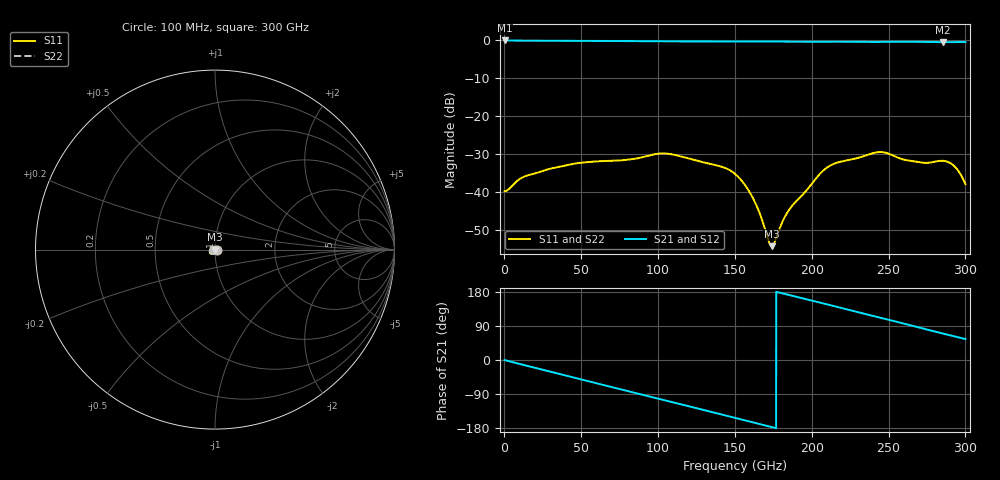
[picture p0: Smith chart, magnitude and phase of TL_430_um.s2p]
#  Hz  S  RI  R  50
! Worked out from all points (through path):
!   3000 points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, 100 MHz to 300 GHz, reference 50 ohm
!   highest |S21| = -0.08 dB at 100 MHz (marker M1); lowest = -0.5 dB at 285.6 GHz (marker M2)
!   group delay of S21, straight-line fit = 2.82 ps
!   lowest |S11| = -54.4 dB at 173.9 GHz (marker M3), VSWR 1.00, Z = 49.8 - j0.0591 ohm
!   |S11| at or under -10 dB: start of sweep to end of sweep
!   |S22| runs from -54.4 to -29.5 dB; largest |S21 - S12| = 3.5e-07
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1e8  0.0102 2.67e-05  0.9903 -0.00188  0.9903 -0.00188  0.0102 2.67e-05
1.37e10  0.0151 -0.00548  0.9537 -0.242  0.9537 -0.242  0.0151 -0.00548
3.14e10  0.0102 -0.0178  0.8289 -0.524  0.8289 -0.524  0.0102 -0.0178
5.01e10  -0.000964 -0.0241  0.6102 -0.764  0.6102 -0.764  -0.000964 -0.0241
7.53e10  -0.0132 -0.0222  0.216 -0.9476  0.216 -0.9476  -0.0132 -0.0222
1.001e11  -0.0259 -0.0185  -0.2015 -0.9401  -0.2015 -0.9401  -0.0259 -0.0185
1.233e11  -0.0262 -0.00208  -0.5574 -0.7843  -0.5574 -0.7843  -0.0262 -0.00208
1.501e11  -0.015 0.0083  -0.8533 -0.445  -0.8533 -0.445  -0.015 0.0083
1.619e11  -0.00587 0.00559  -0.9288 -0.2551  -0.9288 -0.2551  -0.00587 0.00559
1.666e11  -0.00373 0.00319  -0.9458 -0.1751  -0.9458 -0.1751  -0.00373 0.00319
1.721e11  -0.00216 0.000315  -0.9564 -0.0809  -0.9564 -0.0809  -0.00216 0.000315
1.739e11  -0.00182 -0.000593  -0.9578 -0.05  -0.9578 -0.05  -0.00182 -0.000593
1.848e11  -0.000794 -0.00552  -0.9443 0.1342  -0.9443 0.1342  -0.000794 -0.00552
2.001e11  0.000784 -0.0128  -0.8723 0.3738  -0.8723 0.3738  0.000784 -0.0128
2.077e11  -0.00129 -0.0192  -0.8183 0.4874  -0.8183 0.4874  -0.00129 -0.0192
2.147e11  -0.00652 -0.0226  -0.7517 0.5879  -0.7517 0.5879  -0.00652 -0.0226
2.417e11  -0.0244 -0.0222  -0.3937 0.86  -0.3937 0.86  -0.0244 -0.0222
2.501e11  -0.0284 -0.0141  -0.2651 0.9112  -0.2651 0.9112  -0.0284 -0.0141
2.711e11  -0.0233 -0.00689  0.0947 0.9438  0.0947 0.9438  -0.0233 -0.00689
2.856e11  -0.0254 -0.00233  0.325 0.8823  0.325 0.8823  -0.0254 -0.00233
2.93e11  -0.021 0.00488  0.4363 0.8358  0.4363 0.8358  -0.021 0.00488
3e11  -0.0113 0.00546  0.5392 0.7759  0.5392 0.7759  -0.0113 0.00546
